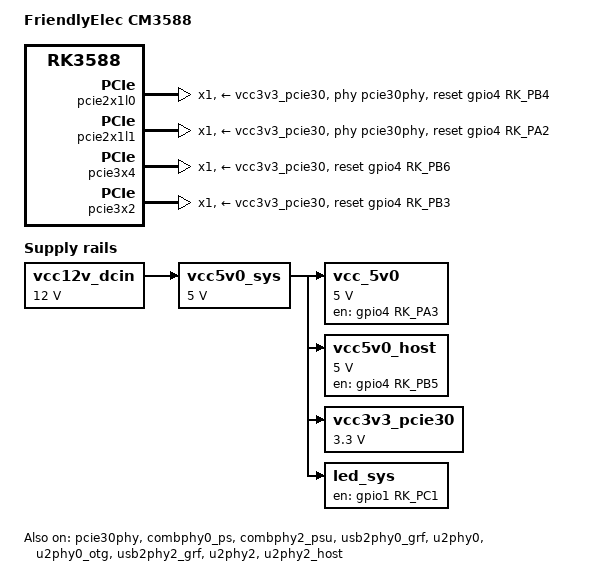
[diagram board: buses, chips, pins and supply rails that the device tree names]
// SPDX-License-Identifier: (GPL-2.0+ OR MIT)
/*
 * Copyright (c) 2021 Rockchip Electronics Co., Ltd
 *
 */

/dts-v1/;
#include <dt-bindings/input/input.h>
#include "rk3588.dtsi"
#include "rk3588-u-boot.dtsi"

/ {
	model = "FriendlyElec CM3588";
	compatible = "friendlyelec,cm3588", "rockchip,rk3588";

	vcc12v_dcin: vcc12v-dcin {
		u-boot,dm-pre-reloc;
		compatible = "regulator-fixed";
		regulator-name = "vcc12v_dcin";
		regulator-always-on;
		regulator-boot-on;
		regulator-min-microvolt = <12000000>;
		regulator-max-microvolt = <12000000>;
	};

	vcc5v0_sys: vcc5v0-sys {
		u-boot,dm-pre-reloc;
		compatible = "regulator-fixed";
		regulator-name = "vcc5v0_sys";
		regulator-always-on;
		regulator-boot-on;
		regulator-min-microvolt = <5000000>;
		regulator-max-microvolt = <5000000>;
		vin-supply = <&vcc12v_dcin>;
	};

	vcc_5v0: vcc-5v0 {
		u-boot,dm-pre-reloc;
		compatible = "regulator-fixed";
		regulator-name = "vcc_5v0";
		regulator-min-microvolt = <5000000>;
		regulator-max-microvolt = <5000000>;
		regulator-boot-on;
		regulator-always-on;
		enable-active-high;
		gpio = <&gpio4 RK_PA3 GPIO_ACTIVE_HIGH>;
		pinctrl-names = "default";
		pinctrl-0 = <&vcc_5v0_en>;
		vin-supply = <&vcc5v0_sys>;
	};

	vcc5v0_host: vcc5v0-host-regulator {
		u-boot,dm-pre-reloc;
		compatible = "regulator-fixed";
		regulator-name = "vcc5v0_host";
		regulator-boot-on;
		regulator-always-on;
		regulator-min-microvolt = <5000000>;
		regulator-max-microvolt = <5000000>;
		enable-active-high;
		gpio = <&gpio4 RK_PB5 GPIO_ACTIVE_HIGH>;
		pinctrl-names = "default";
		pinctrl-0 = <&vcc5v0_host_en>;
		vin-supply = <&vcc5v0_sys>;
	};

	vcc3v3_pcie30: vcc3v3-pcie30 {
		u-boot,dm-pre-reloc;
		startup-delay-us = <50000>;
		compatible = "regulator-fixed";
		regulator-name = "vcc3v3_pcie30";
		regulator-always-on;
		regulator-boot-on;
		regulator-min-microvolt = <3300000>;
		regulator-max-microvolt = <3300000>;
		vin-supply = <&vcc5v0_sys>;
	};

	led_sys: led-sys {
		u-boot,dm-pre-reloc;
		compatible = "regulator-fixed";
		regulator-name = "led_sys";
		enable-active-high;
		gpio = <&gpio1 RK_PC1 GPIO_ACTIVE_HIGH>; // Turn on user led
		regulator-boot-on;
		regulator-always-on;
		vin-supply = <&vcc5v0_sys>;
	};
};

&pcie2x1l0 {
	u-boot,dm-pre-reloc;
	/* 2. CON14: pcie30phy port0 lane1 */
	max-link-speed = <3>;
	num-lanes = <1>;
	phys = <&pcie30phy>;
	reset-gpios = <&gpio4 RK_PB4 GPIO_ACTIVE_HIGH>;
	vpcie3v3-supply = <&vcc3v3_pcie30>;
	status = "okay";

	pcie@0,0 {
		reg = <0x00200000 0 0 0 0>;
		#address-cells = <3>;
		#size-cells = <2>;

		nvme1: pcie@20,0 {
			reg = <0x000000 0 0 0 0>;
		};
	};
};

&pcie2x1l1 {
	u-boot,dm-pre-reloc;
	/* 4. CON16: pcie30phy port1 lane1 */
	max-link-speed = <3>;
	num-lanes = <1>;
	phys = <&pcie30phy>;
	reset-gpios = <&gpio4 RK_PA2 GPIO_ACTIVE_HIGH>;
	vpcie3v3-supply = <&vcc3v3_pcie30>;
	status = "okay";

	pcie@0,0 {
		reg = <0x00300000 0 0 0 0>;
		#address-cells = <3>;
		#size-cells = <2>;

		nvme3: pcie@30,0 {
			reg = <0x000000 0 0 0 0>;
		};
	};
};

&pcie3x4 {
	u-boot,dm-pre-reloc;
	/* 1. CON13: pcie30phy port0 lane0 */
	max-link-speed = <3>;
	num-lanes = <1>;
	reset-gpios = <&gpio4 RK_PB6 GPIO_ACTIVE_HIGH>;
	vpcie3v3-supply = <&vcc3v3_pcie30>;
	status = "okay";

	pcie@0,0 {
		reg = <0x00000000 0 0 0 0>;
		#address-cells = <3>;
		#size-cells = <2>;

		nvme0: pcie@0,0 {
			reg = <0x000000 0 0 0 0>;
		};
	};
};

&pcie3x2 {
	u-boot,dm-pre-reloc;
	/* 3. CON15: pcie30phy port1 lane0 */
	max-link-speed = <3>;
	num-lanes = <1>;
	reset-gpios = <&gpio4 RK_PB3 GPIO_ACTIVE_HIGH>;
	vpcie3v3-supply = <&vcc3v3_pcie30>;
	status = "okay";

	pcie@0,0 {
		reg = <0x00100000 0 0 0 0>;
		#address-cells = <3>;
		#size-cells = <2>;

		nvme2: pcie@10,0 {
			reg = <0x000000 0 0 0 0>;
		};
	};
};

&pcie30phy {
	u-boot,dm-pre-reloc;
	rockchip,pcie30-phymode = <PHY_MODE_PCIE_NABIBI>;
	status = "okay";
};

&combphy0_ps {
	u-boot,dm-pre-reloc;
	status = "okay";
};

&combphy2_psu {
	u-boot,dm-pre-reloc;
	status = "okay";
};

&usb2phy0_grf {
	status = "okay";
	u-boot,dm-pre-reloc;
};

&u2phy0 {
	status = "okay";
	u-boot,dm-pre-reloc;
};

&u2phy0_otg {
	status = "okay";
	u-boot,dm-pre-reloc;
};

&usb2phy2_grf {
	status = "okay";
	u-boot,dm-pre-reloc;
};

&u2phy2 {
	status = "okay";
	u-boot,dm-pre-reloc;
};

&u2phy2_host {
	status = "okay";
	u-boot,dm-pre-reloc;
};

&pinctrl {
	usb {
		u-boot,dm-pre-reloc;
		vcc5v0_host_en: vcc5v0-host-en {
			u-boot,dm-pre-reloc;
			rockchip,pins = <4 RK_PB5 RK_FUNC_GPIO &pcfg_pull_none>;
		};
	};

	power {
		u-boot,dm-spl;
		vcc_5v0_en: vcc-5v0-en {
			u-boot,dm-spl;
			rockchip,pins = <4 RK_PA3 RK_FUNC_GPIO &pcfg_pull_none>;
		};
	};
};
